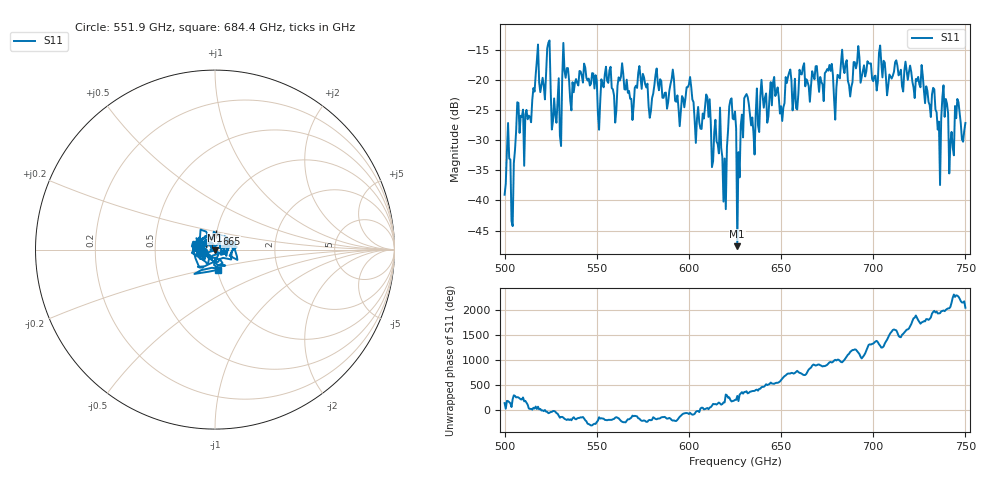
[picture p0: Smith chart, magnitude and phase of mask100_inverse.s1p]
!Created with skrf (http://scikit-rf.org).
# GHz S MA R 50.0
!freq magS11 angS11
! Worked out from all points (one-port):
!   401 points, 500 GHz to 750 GHz, reference 50 ohm
!   lowest |S11| = -47.6 dB at 626.2 GHz (marker M1), VSWR 1.01, Z = 50.1 - j0.412 ohm
!   |S11| at or under -10 dB: start of sweep to end of sweep
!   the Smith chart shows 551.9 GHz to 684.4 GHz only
!   S11 on the Smith chart (normalised r, x): 551.9 GHz: 0.88, -0.02; 665 GHz: 1.00, +0.18; 684.4 GHz: 1.01, -0.23
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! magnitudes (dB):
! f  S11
! 500 GHz  -39.1
! 504.4 GHz  -44.3
! 507.5 GHz  -23.8
! 516.9 GHz  -19.1
! 523.8 GHz  -13.8
! 526.9 GHz  -23.1
! 531.2 GHz  -19.8
! 533.1 GHz  -19.7
! 551.9 GHz  -23.6
! 562.5 GHz  -20.1
! 593.8 GHz  -22.6
! 610 GHz  -22.9
! 618.8 GHz  -40.2
! 622.5 GHz  -23.4
! 625 GHz  -25.3
! 626.2 GHz  -47.6
! 631.2 GHz  -22.4
! 635 GHz  -28.7
! 656.2 GHz  -25.1
! 665 GHz  -21.1
! 684.4 GHz  -18.9
! 687.5 GHz  -22.8
! 718.8 GHz  -20.0
! 735.6 GHz  -26.9
! 738.8 GHz  -26.1
! 742.5 GHz  -28.6
! 745.6 GHz  -23.2
! 750 GHz  -27.2
